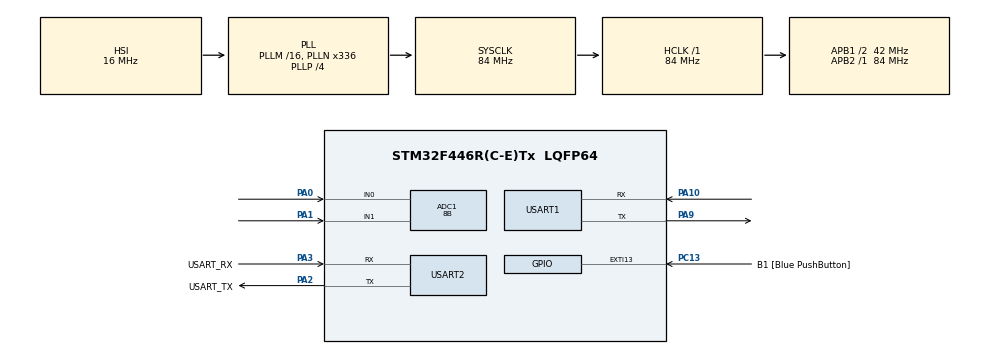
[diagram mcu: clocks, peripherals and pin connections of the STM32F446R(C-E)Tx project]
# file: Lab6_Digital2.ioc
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ADC1.Channel-3\#ChannelRegularConversion=ADC_CHANNEL_0
ADC1.NbrOfConversionFlag=1
ADC1.Rank-3\#ChannelRegularConversion=1
ADC1.Resolution=ADC_RESOLUTION_8B
ADC1.SamplingTime-3\#ChannelRegularConversion=ADC_SAMPLETIME_3CYCLES
ADC1.master=1
Mcu.Family=STM32F4
Mcu.Name=STM32F446R(C-E)Tx
Mcu.Package=LQFP64
NVIC.ADC_IRQn=true\:0\:0\:false\:false\:true\:true\:true\:true
NVIC.EXTI15_10_IRQn=true\:0\:0\:false\:false\:true\:true\:true\:true
NVIC.PriorityGroup=NVIC_PRIORITYGROUP_0
NVIC.USART1_IRQn=true\:0\:0\:false\:false\:true\:true\:true\:true
PA0-WKUP.Signal=ADCx_IN0
PA1.Signal=ADCx_IN1
PA10.Mode=Asynchronous
PA10.Signal=USART1_RX
PA13.GPIO_Label=TMS
PA13.Mode=Serial_Wire
PA13.Signal=SYS_JTMS-SWDIO
PA14.GPIO_Label=TCK
PA14.Mode=Serial_Wire
PA14.Signal=SYS_JTCK-SWCLK
PA2.GPIO_Label=USART_TX
PA2.Mode=Asynchronous
PA2.Signal=USART2_TX
PA3.GPIO_Label=USART_RX
PA3.Mode=Asynchronous
PA3.Signal=USART2_RX
PA9.Mode=Asynchronous
PA9.Signal=USART1_TX
PB3.GPIO_Label=SWO
PB3.Signal=SYS_JTDO-SWO
PC13.GPIO_Label=B1 [Blue PushButton]
PC13.GPIO_ModeDefaultEXTI=GPIO_MODE_IT_FALLING
PC13.Signal=GPXTI13
PC14-OSC32_IN.Mode=LSE-External-Oscillator
PC14-OSC32_IN.Signal=RCC_OSC32_IN
PC15-OSC32_OUT.Mode=LSE-External-Oscillator
PC15-OSC32_OUT.Signal=RCC_OSC32_OUT
PH0-OSC_IN.Mode=HSE-External-Oscillator
PH0-OSC_IN.Signal=RCC_OSC_IN
PH1-OSC_OUT.Mode=HSE-External-Oscillator
PH1-OSC_OUT.Signal=RCC_OSC_OUT
ProjectManager.HeapSize=0x200
ProjectManager.StackSize=0x400
ProjectManager.TargetToolchain=STM32CubeIDE
RCC.48MHZClocksFreq_Value=84000000
RCC.AHBFreq_Value=84000000
RCC.APB1CLKDivider=RCC_HCLK_DIV2
RCC.APB1Freq_Value=42000000
RCC.APB1TimFreq_Value=84000000
RCC.APB2Freq_Value=84000000
RCC.APB2TimFreq_Value=84000000
RCC.CortexFreq_Value=84000000
RCC.FLatency-AdvancedSettings=FLASH_LATENCY_2
RCC.HCLKFreq_Value=84000000
RCC.HSE_VALUE=8000000
RCC.HSI_VALUE=16000000
RCC.PLLN=336
RCC.PLLP=RCC_PLLP_DIV4
RCC.SYSCLKFreq_VALUE=84000000
RCC.SYSCLKSource=RCC_SYSCLKSOURCE_PLLCLK
RCC.USBFreq_Value=168000000
RCC.VCOOutputFreq_Value=336000000
SH.ADCx_IN0.0=ADC1_IN0,IN0
SH.ADCx_IN1.0=ADC1_IN1,IN1
USART1.VirtualMode=VM_ASYNC
USART2.VirtualMode=VM_ASYNC
board=NUCLEO-F446RE

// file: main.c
/* USER CODE BEGIN Header */
/**
  ******************************************************************************
  * @file           : main.c
  * @brief          : Main program body
  ******************************************************************************
  * @attention
  *
  * Copyright (c) 2026 STMicroelectronics.
  * All rights reserved.
  *
  * This software is licensed under terms that can be found in the LICENSE file
  * in the root directory of this software component.
  * If no LICENSE file comes with this software, it is provided AS-IS.
  *
  ******************************************************************************
  */
/* USER CODE END Header */
#include "main.h"

/* USER CODE BEGIN Includes */
#include <stdio.h>
#include <string.h>
/* USER CODE END Includes */

ADC_HandleTypeDef hadc1;

UART_HandleTypeDef huart1;
UART_HandleTypeDef huart2;

/* USER CODE BEGIN PV */
uint8_t rxByte;
char rxBuffer[32];
volatile uint8_t rxIndex = 0;
volatile uint8_t comandoListo = 0;
/* USER CODE END PV */

void SystemClock_Config(void);
static void MX_GPIO_Init(void);
static void MX_USART2_UART_Init(void);
static void MX_ADC1_Init(void);
static void MX_USART1_UART_Init(void);
/* USER CODE BEGIN PFP */
uint32_t Leer_ADC(uint32_t canal);

/* USER CODE END PFP */

int main(void)
{

  /* MCU Configuration--------------------------------------------------------*/

  /* Reset of all peripherals, Initializes the Flash interface and the Systick. */
  HAL_Init();

  /* Configure the system clock */
  SystemClock_Config();

  /* Initialize all configured peripherals */
  MX_GPIO_Init();
  MX_USART2_UART_Init();
  MX_ADC1_Init();
  MX_USART1_UART_Init();

  /* Infinite loop */
  /* USER CODE BEGIN WHILE */

  HAL_UART_Receive_IT(&huart1, &rxByte, 1);

  while (1)
  {
    /* USER CODE END WHILE */

    /* USER CODE BEGIN 3 */
      char msg[40];
      uint32_t potX, potY;

      potX = Leer_ADC(ADC_CHANNEL_0);
      potY = Leer_ADC(ADC_CHANNEL_1);
/*
      if (potX > 200)
      {
          sprintf(msg, "Control 1: Derecha\r\n");
          HAL_UART_Transmit(&huart2, (uint8_t*)msg, strlen(msg), HAL_MAX_DELAY);
          HAL_Delay(1000);
      }
      else if (potX < 50)
      {
          sprintf(msg, "Control 1: Izquierda\r\n");
          HAL_UART_Transmit(&huart2, (uint8_t*)msg, strlen(msg), HAL_MAX_DELAY);
          HAL_Delay(1000);
      }

      if (potY > 200)
      {
          sprintf(msg, "Control 1: Arriba\r\n");
          HAL_UART_Transmit(&huart2, (uint8_t*)msg, strlen(msg), HAL_MAX_DELAY);
          HAL_Delay(1000);
      }
      else if (potY < 50)
      {
          sprintf(msg, "Control 1: Abajo\r\n");
          HAL_UART_Transmit(&huart2, (uint8_t*)msg, strlen(msg), HAL_MAX_DELAY);
          HAL_Delay(1000);
      }
*/
      if (comandoListo)
      {
          comandoListo = 0;
          HAL_UART_Transmit(&huart2, (uint8_t*)"Control 2: ", 11, HAL_MAX_DELAY);
          HAL_UART_Transmit(&huart2, (uint8_t*)rxBuffer, strlen(rxBuffer), HAL_MAX_DELAY);
          HAL_UART_Transmit(&huart2, (uint8_t*)"\r\n", 2, HAL_MAX_DELAY);
      }
  /* USER CODE END 3 */
}
}
void SystemClock_Config(void)
{
  RCC_OscInitTypeDef RCC_OscInitStruct = {0};
  RCC_ClkInitTypeDef RCC_ClkInitStruct = {0};

  /** Configure the main internal regulator output voltage
  */
  __HAL_RCC_PWR_CLK_ENABLE();
  __HAL_PWR_VOLTAGESCALING_CONFIG(PWR_REGULATOR_VOLTAGE_SCALE3);

  /** Initializes the RCC Oscillators according to the specified parameters
  * in the RCC_OscInitTypeDef structure.
  */
  RCC_OscInitStruct.OscillatorType = RCC_OSCILLATORTYPE_HSI;
  RCC_OscInitStruct.HSIState = RCC_HSI_ON;
  RCC_OscInitStruct.HSICalibrationValue = RCC_HSICALIBRATION_DEFAULT;
  RCC_OscInitStruct.PLL.PLLState = RCC_PLL_ON;
  RCC_OscInitStruct.PLL.PLLSource = RCC_PLLSOURCE_HSI;
  RCC_OscInitStruct.PLL.PLLM = 16;
  RCC_OscInitStruct.PLL.PLLN = 336;
  RCC_OscInitStruct.PLL.PLLP = RCC_PLLP_DIV4;
  RCC_OscInitStruct.PLL.PLLQ = 2;
  RCC_OscInitStruct.PLL.PLLR = 2;
  if (HAL_RCC_OscConfig(&RCC_OscInitStruct) != HAL_OK)
  {
    Error_Handler();
  }

  /** Initializes the CPU, AHB and APB buses clocks
  */
  RCC_ClkInitStruct.ClockType = RCC_CLOCKTYPE_HCLK|RCC_CLOCKTYPE_SYSCLK
                              |RCC_CLOCKTYPE_PCLK1|RCC_CLOCKTYPE_PCLK2;
  RCC_ClkInitStruct.SYSCLKSource = RCC_SYSCLKSOURCE_PLLCLK;
  RCC_ClkInitStruct.AHBCLKDivider = RCC_SYSCLK_DIV1;
  RCC_ClkInitStruct.APB1CLKDivider = RCC_HCLK_DIV2;
  RCC_ClkInitStruct.APB2CLKDivider = RCC_HCLK_DIV1;

  if (HAL_RCC_ClockConfig(&RCC_ClkInitStruct, FLASH_LATENCY_2) != HAL_OK)
  {
    Error_Handler();
  }
}

static void MX_ADC1_Init(void)
{

  ADC_ChannelConfTypeDef sConfig = {0};

  /** Configure the global features of the ADC (Clock, Resolution, Data Alignment and number of conversion)
  */
  hadc1.Instance = ADC1;
  hadc1.Init.ClockPrescaler = ADC_CLOCK_SYNC_PCLK_DIV4;
  hadc1.Init.Resolution = ADC_RESOLUTION_8B;
  hadc1.Init.ScanConvMode = DISABLE;
  hadc1.Init.ContinuousConvMode = DISABLE;
  hadc1.Init.DiscontinuousConvMode = DISABLE;
  hadc1.Init.ExternalTrigConvEdge = ADC_EXTERNALTRIGCONVEDGE_NONE;
  hadc1.Init.ExternalTrigConv = ADC_SOFTWARE_START;
  hadc1.Init.DataAlign = ADC_DATAALIGN_RIGHT;
  hadc1.Init.NbrOfConversion = 1;
  hadc1.Init.DMAContinuousRequests = DISABLE;
  hadc1.Init.EOCSelection = ADC_EOC_SINGLE_CONV;
  if (HAL_ADC_Init(&hadc1) != HAL_OK)
  {
    Error_Handler();
  }

  /** Configure for the selected ADC regular channel its corresponding rank in the sequencer and its sample time.
  */
  sConfig.Channel = ADC_CHANNEL_0;
  sConfig.Rank = 1;
  sConfig.SamplingTime = ADC_SAMPLETIME_3CYCLES;
  if (HAL_ADC_ConfigChannel(&hadc1, &sConfig) != HAL_OK)
  {
    Error_Handler();
  }

}

static void MX_USART1_UART_Init(void)
{

  huart1.Instance = USART1;
  huart1.Init.BaudRate = 9600;
  huart1.Init.WordLength = UART_WORDLENGTH_8B;
  huart1.Init.StopBits = UART_STOPBITS_1;
  huart1.Init.Parity = UART_PARITY_NONE;
  huart1.Init.Mode = UART_MODE_TX_RX;
  huart1.Init.HwFlowCtl = UART_HWCONTROL_NONE;
  huart1.Init.OverSampling = UART_OVERSAMPLING_16;
  if (HAL_UART_Init(&huart1) != HAL_OK)
  {
    Error_Handler();
  }

}

static void MX_USART2_UART_Init(void)
{

  huart2.Instance = USART2;
  huart2.Init.BaudRate = 115200;
  huart2.Init.WordLength = UART_WORDLENGTH_8B;
  huart2.Init.StopBits = UART_STOPBITS_1;
  huart2.Init.Parity = UART_PARITY_NONE;
  huart2.Init.Mode = UART_MODE_TX_RX;
  huart2.Init.HwFlowCtl = UART_HWCONTROL_NONE;
  huart2.Init.OverSampling = UART_OVERSAMPLING_16;
  if (HAL_UART_Init(&huart2) != HAL_OK)
  {
    Error_Handler();
  }

}

static void MX_GPIO_Init(void)
{
  GPIO_InitTypeDef GPIO_InitStruct = {0};

  /* GPIO Ports Clock Enable */
  __HAL_RCC_GPIOC_CLK_ENABLE();
  __HAL_RCC_GPIOH_CLK_ENABLE();
  __HAL_RCC_GPIOA_CLK_ENABLE();
  __HAL_RCC_GPIOB_CLK_ENABLE();

  /*Configure GPIO pin : B1_Pin */
  GPIO_InitStruct.Pin = B1_Pin;
  GPIO_InitStruct.Mode = GPIO_MODE_IT_FALLING;
  GPIO_InitStruct.Pull = GPIO_NOPULL;
  HAL_GPIO_Init(B1_GPIO_Port, &GPIO_InitStruct);

  /* EXTI interrupt init*/
  HAL_NVIC_SetPriority(EXTI15_10_IRQn, 0, 0);
  HAL_NVIC_EnableIRQ(EXTI15_10_IRQn);

}

/* USER CODE BEGIN 4 */
uint32_t Leer_ADC(uint32_t canal)
{
    ADC_ChannelConfTypeDef sConfig = {0};

    sConfig.Channel = canal;
    sConfig.Rank = 1;
    sConfig.SamplingTime = ADC_SAMPLETIME_3CYCLES;

    if (HAL_ADC_ConfigChannel(&hadc1, &sConfig) != HAL_OK)
    {
        Error_Handler();
    }

    HAL_ADC_Start(&hadc1);

    if (HAL_ADC_PollForConversion(&hadc1, HAL_MAX_DELAY) != HAL_OK)
    {
        Error_Handler();
    }

    uint32_t valor = HAL_ADC_GetValue(&hadc1);
    HAL_ADC_Stop(&hadc1);

    return valor;
}

void HAL_UART_RxCpltCallback(UART_HandleTypeDef *huart)
{
    if (huart->Instance == USART1)
    {
        if (rxByte != '\r' && rxByte != '\n')
        {
            if (rxIndex < sizeof(rxBuffer) - 1)
            {
                rxBuffer[rxIndex++] = rxByte;
            }
        }
        else
        {
            rxBuffer[rxIndex] = '\0';
            rxIndex = 0;
            comandoListo = 1;
        }

        HAL_UART_Receive_IT(&huart1, &rxByte, 1);
    }
}
/* USER CODE END 4 */

void Error_Handler(void)
{
  __disable_irq();
  while (1)
  {
  }
}
